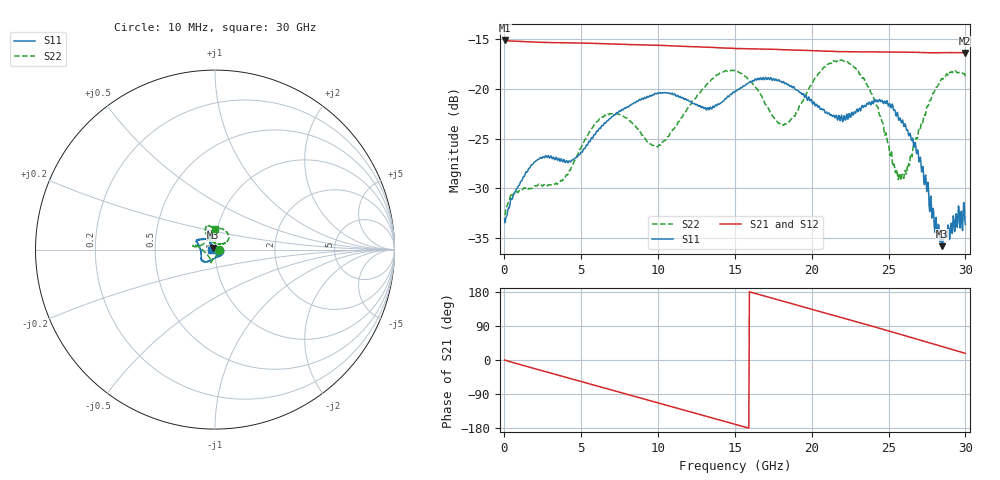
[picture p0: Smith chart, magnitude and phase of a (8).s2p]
! Device:  ADRF5700
! Description: 2 dB LSB, 5-Bit, Silicon Digital Attenuator, 100 MHz to 22 GHz
! Frequency:  10MHz -  30.00 GHz
! Ports:
!  RF1 = Port 1
!  RF2 = Port 2
! VDD  =  +3.30 Volts
! VSS  =  -3.30 Volts
! State:  14.00 dB attenuation
! Data:  Data was collected using an calibrated 4 port network analyzer
!  The reference plane is the edge of the device.
! Notes: Analog Devices supplies this data as a sample of measured data
!  for this product.  Your particular data for this product may vary.
!  Data was taken at 25 degrees C.
!  Analog Devices reserves the right to change this data at anytime.
# GHz S  dB  R 50
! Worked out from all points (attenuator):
!   801 points, 10 MHz to 30 GHz, reference 50 ohm
!   highest |S21| = -15.14 dB at 10 MHz (marker M1); lowest = -16.4 dB at 29.96 GHz (marker M2)
!   lowest |S11| = -35.8 dB at 28.5 GHz (marker M3), VSWR 1.03, Z = 48.8 + j1.08 ohm
!   |S11| at or under -10 dB: start of sweep to end of sweep
!   |S22| runs from -32.7 to -17.1 dB; largest |S21 - S12| = 0.002
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0.01  -33.08 -20.7  -15.14 -0.1  -15.13 0.2  -32.65 -4.2
0.5723  -30.71 -11.8  -15.21 -6.9  -15.18 -6.8  -30.68 6.2
2.0343  -27.26 -34.1  -15.30 -23.5  -15.27 -23.5  -29.76 -24.1
3.7588  -27.27 -59.4  -15.37 -42.8  -15.33 -42.7  -29.27 -69.7
5.0333  -26.38 -91.9  -15.40 -57.1  -15.36 -57.1  -25.75 -100.8
7.0202  -22.79 -117.0  -15.49 -79.7  -15.45 -79.6  -22.49 -106.6
10.0192  -20.46 -137.4  -15.62 -113.6  -15.58 -113.4  -25.75 -146.6
13.2056  -21.89 -171.7  -15.81 -149.5  -15.77 -149.3  -19.49 167.8
15.005  -20.29 163.0  -15.94 -169.7  -15.90 -169.4  -18.18 170.7
18.079  -19.39 148.9  -16.07 155.6  -16.03 156.1  -23.60 136.5
20.0283  -21.40 138.2  -16.14 133.4  -16.11 134.0  -19.46 98.1
21.3779  -22.73 119.2  -16.23 118.2  -16.20 118.7  -17.16 103.8
22.7274  -22.53 100.7  -16.27 103.0  -16.22 103.5  -17.80 114.3
24.002  -21.50 96.8  -16.29 88.3  -16.25 88.9  -20.80 119.6
25.0142  -21.74 101.3  -16.30 76.6  -16.26 77.2  -25.68 111.6
25.539  -22.49 105.8  -16.30 70.5  -16.26 71.1  -28.11 91.4
26.0263  -23.76 110.8  -16.31 64.7  -16.27 65.2  -28.63 61.2
26.926  -26.34 125.9  -16.34 54.0  -16.30 54.5  -24.42 32.1
28.0507  -33.36 127.4  -16.37 40.7  -16.32 41.3  -19.95 39.8
28.5005  -35.83 136.8  -16.37 35.3  -16.32 36.0  -19.03 49.4
29.9625  -33.14 -169.7  -16.39 17.8  -16.33 18.4  -18.58 89.1
30  -33.67 -178.5  -16.37 17.5  -16.32 18.0  -18.74 90.3
